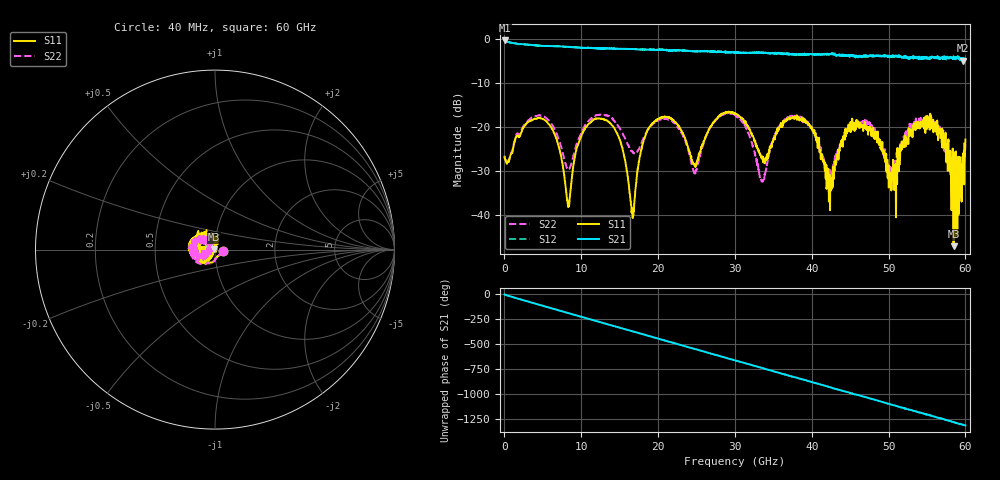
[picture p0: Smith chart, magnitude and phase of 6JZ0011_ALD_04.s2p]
! File created by 'SoftPlot +Plus+ Measurement Management Software'
! SoftPlot +Plus+ Measurement Management Software
! Start 40.000000 MHz  Stop 60.000000 GHz  Points 1601
# MHZ S RI R 50
! S-Parameter data, F S11 S21 S12 S22
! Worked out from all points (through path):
!   1601 points, 40 MHz to 60 GHz, reference 50 ohm
!   highest |S21| = -0.44 dB at 40 MHz (marker M1); lowest = -5.0 dB at 59.66 GHz (marker M2)
!   group delay of S21, straight-line fit = 60.5 ps
!   lowest |S11| = -47.1 dB at 58.46 GHz (marker M3), VSWR 1.01, Z = 49.6 + j0.0736 ohm
!   |S11| at or under -10 dB: start of sweep to end of sweep
!   |S22| runs from -39.0 to -16.8 dB; largest |S21 - S12| = 0.056
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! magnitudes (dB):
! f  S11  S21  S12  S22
! 40 MHz  -26.9  -0.4  -0.5  -26.6
! 5.212 GHz  -18.4  -1.7  -1.7  -17.7
! 8.322 GHz  -38.2  -1.9  -1.9  -29.6
! 10.05 GHz  -22.0  -2.1  -2.1  -21.4
! 14.21 GHz  -20.1  -2.3  -2.3  -18.5
! 16.68 GHz  -39.9  -2.4  -2.4  -25.8
! 18.18 GHz  -22.9  -2.5  -2.5  -22.4
! 20.05 GHz  -18.2  -2.6  -2.5  -18.5
! 24.81 GHz  -28.8  -2.9  -2.9  -30.1
! 27.1 GHz  -19.3  -3.0  -2.9  -19.5
! 30.02 GHz  -16.9  -3.1  -3.1  -17.3
! 33.54 GHz  -26.9  -3.2  -3.2  -32.5
! 36.5 GHz  -18.8  -3.5  -3.6  -18.5
! 40.03 GHz  -20.1  -3.5  -3.6  -20.2
! 42.46 GHz  -34.5  -3.6  -3.6  -31.9
! 45.72 GHz  -20.3  -4.2  -4.0  -19.4
! 48.12 GHz  -21.8  -3.9  -4.0  -20.7
! 50.03 GHz  -33.8  -4.1  -4.0  -29.0
! 55.32 GHz  -18.2  -4.3  -4.3  -19.1
! 58.46 GHz  -47.1  -4.6  -4.0  -26.5
! 59.66 GHz  -26.5  -5.0  -4.4  -27.7
! 60 GHz  -22.9  -4.6  -4.3  -24.0
